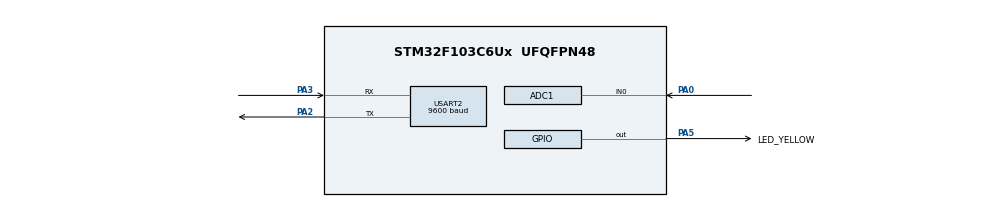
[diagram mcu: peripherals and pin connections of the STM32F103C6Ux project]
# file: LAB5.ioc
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ADC1.Channel-1\#ChannelRegularConversion=ADC_CHANNEL_0
ADC1.ContinuousConvMode=ENABLE
ADC1.NbrOfConversionFlag=1
ADC1.Rank-1\#ChannelRegularConversion=1
ADC1.SamplingTime-1\#ChannelRegularConversion=ADC_SAMPLETIME_1CYCLE_5
ADC1.master=1
Mcu.Family=STM32F1
Mcu.Name=STM32F103C6Ux
Mcu.Package=UFQFPN48
NVIC.PriorityGroup=NVIC_PRIORITYGROUP_4
NVIC.TIM2_IRQn=true\:0\:0\:false\:false\:true\:true\:true
NVIC.USART2_IRQn=true\:0\:0\:false\:false\:true\:true\:true
PA0-WKUP.Signal=ADCx_IN0
PA2.Mode=Asynchronous
PA2.Signal=USART2_TX
PA3.Mode=Asynchronous
PA3.Signal=USART2_RX
PA5.GPIO_Label=LED_YELLOW
PA5.Signal=GPIO_Output
ProjectManager.HeapSize=0x200
ProjectManager.StackSize=0x400
ProjectManager.TargetToolchain=STM32CubeIDE
RCC.APB1Freq_Value=8000000
RCC.APB2Freq_Value=8000000
SH.ADCx_IN0.0=ADC1_IN0,IN0
TIM2.Period=9
TIM2.Prescaler=7999
USART2.BaudRate=9600
USART2.VirtualMode=VM_ASYNC
VP_SYS_VS_ND.Mode=No_Debug
VP_TIM2_VS_ClockSourceINT.Mode=Internal
board=custom

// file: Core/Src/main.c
/* USER CODE BEGIN Header */
/**
  ******************************************************************************
  * @file           : main.c
  * @brief          : Main program body
  ******************************************************************************
  * @attention
  *
  * <h2><center>&copy; Copyright (c) 2024 STMicroelectronics.
  * All rights reserved.</center></h2>
  *
  * This software component is licensed by ST under BSD 3-Clause license,
  * the "License"; You may not use this file except in compliance with the
  * License. You may obtain a copy of the License at:
  *                        opensource.org/licenses/BSD-3-Clause
  *
  ******************************************************************************
  */
/* USER CODE END Header */
#include "main.h"

/* USER CODE BEGIN Includes */
#include "softwareTimer.h"
#include <stdio.h>
#include <stdlib.h>
#include <string.h>
#include "cmd_uart_fsm.h"
/* USER CODE END Includes */

ADC_HandleTypeDef hadc1;

TIM_HandleTypeDef htim2;

UART_HandleTypeDef huart2;

void SystemClock_Config(void);
static void MX_GPIO_Init(void);
static void MX_USART2_UART_Init(void);
static void MX_ADC1_Init(void);
static void MX_TIM2_Init(void);

/* USER CODE BEGIN 0 */

void HAL_UART_RxCpltCallback (UART_HandleTypeDef *huart) {
	if(huart -> Instance == USART2) { //use USART2
		HAL_UART_Transmit(&huart2, &temp, 1, 50); // truyền mỗi lần 1 byte, time out = 50ms
		buffer[index_buffer] = temp; //save data to buffer
		index_buffer++;
		if (index_buffer == MAX_BUFFER_SIZE) //check size
//			char uart_overflow[] = "\r\nInput exceeded MAX_BUFFER_SIZE!\r\n";
//			HAL_UART_Transmit(&huart2, (uint8_t*)uart_overflow, sizeof(uart_overflow) - 1, 500);
			index_buffer = 0;
		buffer_flag = 1;
		HAL_UART_Receive_IT(&huart2, &temp, 1); //kích hoạt lại ngắt
	}
}

/* USER CODE END 0 */

int main(void)
{

  /* MCU Configuration--------------------------------------------------------*/

  /* Reset of all peripherals, Initializes the Flash interface and the Systick. */
  HAL_Init();

  /* Configure the system clock */
  SystemClock_Config();

  /* Initialize all configured peripherals */
  MX_GPIO_Init();
  MX_USART2_UART_Init();
  MX_ADC1_Init();
  MX_TIM2_Init();
  /* USER CODE BEGIN 2 */
  HAL_UART_Receive_IT(&huart2, &temp, 1);
  HAL_TIM_Base_Start_IT(&htim2);
  HAL_ADC_Start(&hadc1);
  setTimer2(500);
  /* USER CODE END 2 */

  /* Infinite loop */
  /* USER CODE BEGIN WHILE */

  while (1)
  {
	 if (timer2_flag == 1) {
	  	 HAL_GPIO_TogglePin(LED_YELLOW_GPIO_Port, LED_YELLOW_Pin);
	  	 setTimer2(500);
	 }
	 if (buffer_flag == 1) {
	  	 cmd_parser_fsm();
	     buffer_flag = 0;
	 }
	 uart_comms_fsm();
    /* USER CODE END WHILE */

  }
}

void SystemClock_Config(void)
{
  RCC_OscInitTypeDef RCC_OscInitStruct = {0};
  RCC_ClkInitTypeDef RCC_ClkInitStruct = {0};
  RCC_PeriphCLKInitTypeDef PeriphClkInit = {0};

  /** Initializes the RCC Oscillators according to the specified parameters
  * in the RCC_OscInitTypeDef structure.
  */
  RCC_OscInitStruct.OscillatorType = RCC_OSCILLATORTYPE_HSI;
  RCC_OscInitStruct.HSIState = RCC_HSI_ON;
  RCC_OscInitStruct.HSICalibrationValue = RCC_HSICALIBRATION_DEFAULT;
  RCC_OscInitStruct.PLL.PLLState = RCC_PLL_NONE;
  if (HAL_RCC_OscConfig(&RCC_OscInitStruct) != HAL_OK)
  {
    Error_Handler();
  }
  /** Initializes the CPU, AHB and APB buses clocks
  */
  RCC_ClkInitStruct.ClockType = RCC_CLOCKTYPE_HCLK|RCC_CLOCKTYPE_SYSCLK
                              |RCC_CLOCKTYPE_PCLK1|RCC_CLOCKTYPE_PCLK2;
  RCC_ClkInitStruct.SYSCLKSource = RCC_SYSCLKSOURCE_HSI;
  RCC_ClkInitStruct.AHBCLKDivider = RCC_SYSCLK_DIV1;
  RCC_ClkInitStruct.APB1CLKDivider = RCC_HCLK_DIV1;
  RCC_ClkInitStruct.APB2CLKDivider = RCC_HCLK_DIV1;

  if (HAL_RCC_ClockConfig(&RCC_ClkInitStruct, FLASH_LATENCY_0) != HAL_OK)
  {
    Error_Handler();
  }
  PeriphClkInit.PeriphClockSelection = RCC_PERIPHCLK_ADC;
  PeriphClkInit.AdcClockSelection = RCC_ADCPCLK2_DIV2;
  if (HAL_RCCEx_PeriphCLKConfig(&PeriphClkInit) != HAL_OK)
  {
    Error_Handler();
  }
}

static void MX_ADC1_Init(void)
{

  ADC_ChannelConfTypeDef sConfig = {0};

  /** Common config
  */
  hadc1.Instance = ADC1;
  hadc1.Init.ScanConvMode = ADC_SCAN_DISABLE;
  hadc1.Init.ContinuousConvMode = ENABLE;
  hadc1.Init.DiscontinuousConvMode = DISABLE;
  hadc1.Init.ExternalTrigConv = ADC_SOFTWARE_START;
  hadc1.Init.DataAlign = ADC_DATAALIGN_RIGHT;
  hadc1.Init.NbrOfConversion = 1;
  if (HAL_ADC_Init(&hadc1) != HAL_OK)
  {
    Error_Handler();
  }
  /** Configure Regular Channel
  */
  sConfig.Channel = ADC_CHANNEL_0;
  sConfig.Rank = ADC_REGULAR_RANK_1;
  sConfig.SamplingTime = ADC_SAMPLETIME_1CYCLE_5;
  if (HAL_ADC_ConfigChannel(&hadc1, &sConfig) != HAL_OK)
  {
    Error_Handler();
  }

}

static void MX_TIM2_Init(void)
{

  TIM_ClockConfigTypeDef sClockSourceConfig = {0};
  TIM_MasterConfigTypeDef sMasterConfig = {0};

  htim2.Instance = TIM2;
  htim2.Init.Prescaler = 7999;
  htim2.Init.CounterMode = TIM_COUNTERMODE_UP;
  htim2.Init.Period = 9;
  htim2.Init.ClockDivision = TIM_CLOCKDIVISION_DIV1;
  htim2.Init.AutoReloadPreload = TIM_AUTORELOAD_PRELOAD_DISABLE;
  if (HAL_TIM_Base_Init(&htim2) != HAL_OK)
  {
    Error_Handler();
  }
  sClockSourceConfig.ClockSource = TIM_CLOCKSOURCE_INTERNAL;
  if (HAL_TIM_ConfigClockSource(&htim2, &sClockSourceConfig) != HAL_OK)
  {
    Error_Handler();
  }
  sMasterConfig.MasterOutputTrigger = TIM_TRGO_RESET;
  sMasterConfig.MasterSlaveMode = TIM_MASTERSLAVEMODE_DISABLE;
  if (HAL_TIMEx_MasterConfigSynchronization(&htim2, &sMasterConfig) != HAL_OK)
  {
    Error_Handler();
  }

}

static void MX_USART2_UART_Init(void)
{

  huart2.Instance = USART2;
  huart2.Init.BaudRate = 9600;
  huart2.Init.WordLength = UART_WORDLENGTH_8B;
  huart2.Init.StopBits = UART_STOPBITS_1;
  huart2.Init.Parity = UART_PARITY_NONE;
  huart2.Init.Mode = UART_MODE_TX_RX;
  huart2.Init.HwFlowCtl = UART_HWCONTROL_NONE;
  huart2.Init.OverSampling = UART_OVERSAMPLING_16;
  if (HAL_UART_Init(&huart2) != HAL_OK)
  {
    Error_Handler();
  }

}

static void MX_GPIO_Init(void)
{
  GPIO_InitTypeDef GPIO_InitStruct = {0};

  /* GPIO Ports Clock Enable */
  __HAL_RCC_GPIOA_CLK_ENABLE();

  /*Configure GPIO pin Output Level */
  HAL_GPIO_WritePin(LED_YELLOW_GPIO_Port, LED_YELLOW_Pin, GPIO_PIN_RESET);

  /*Configure GPIO pin : LED_YELLOW_Pin */
  GPIO_InitStruct.Pin = LED_YELLOW_Pin;
  GPIO_InitStruct.Mode = GPIO_MODE_OUTPUT_PP;
  GPIO_InitStruct.Pull = GPIO_NOPULL;
  GPIO_InitStruct.Speed = GPIO_SPEED_FREQ_LOW;
  HAL_GPIO_Init(LED_YELLOW_GPIO_Port, &GPIO_InitStruct);

}

/* USER CODE BEGIN 4 */
void HAL_TIM_PeriodElapsedCallback(TIM_HandleTypeDef *htim) {
	timerRun();
}
/* USER CODE END 4 */

void Error_Handler(void)
{
  __disable_irq();
  while (1)
  {
  }
}

/************************ (C) COPYRIGHT STMicroelectronics *****END OF FILE****/
